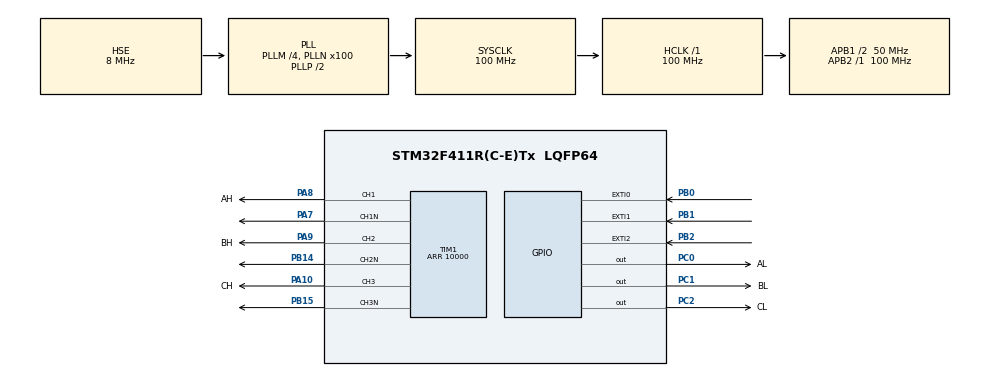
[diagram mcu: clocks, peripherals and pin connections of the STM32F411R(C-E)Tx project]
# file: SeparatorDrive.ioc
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Mcu.Family=STM32F4
Mcu.Name=STM32F411R(C-E)Tx
Mcu.Package=LQFP64
NVIC.EXTI0_IRQn=true\:0\:0\:false\:false\:true\:true\:true
NVIC.EXTI1_IRQn=true\:0\:0\:false\:false\:true\:true\:true
NVIC.EXTI2_IRQn=true\:0\:0\:false\:false\:true\:true\:true
NVIC.PriorityGroup=NVIC_PRIORITYGROUP_4
PA10.GPIO_Label=CH
PA10.Signal=S_TIM1_CH3
PA13.Mode=Serial_Wire
PA13.Signal=SYS_JTMS-SWDIO
PA14.Mode=Serial_Wire
PA14.Signal=SYS_JTCK-SWCLK
PA7.Mode=PWM Generation1 CH1 CH1N
PA7.Signal=TIM1_CH1N
PA8.GPIO_Label=AH
PA8.Signal=S_TIM1_CH1
PA9.GPIO_Label=BH
PA9.Signal=S_TIM1_CH2
PB0.GPIO_ModeDefaultEXTI=GPIO_MODE_IT_RISING_FALLING
PB0.GPIO_PuPd=GPIO_PULLUP
PB0.Signal=GPXTI0
PB1.GPIO_ModeDefaultEXTI=GPIO_MODE_IT_RISING_FALLING
PB1.GPIO_PuPd=GPIO_PULLUP
PB1.Signal=GPXTI1
PB14.Mode=PWM Generation2 CH2 CH2N
PB14.Signal=TIM1_CH2N
PB15.Mode=PWM Generation3 CH3 CH3N
PB15.Signal=TIM1_CH3N
PB2.GPIO_ModeDefaultEXTI=GPIO_MODE_IT_RISING_FALLING
PB2.GPIO_PuPd=GPIO_PULLUP
PB2.Signal=GPXTI2
PC0.GPIO_Label=AL
PC0.Signal=GPIO_Output
PC1.GPIO_Label=BL
PC1.Signal=GPIO_Output
PC2.GPIO_Label=CL
PC2.Signal=GPIO_Output
PH0\ -\ OSC_IN.Mode=HSE-External-Clock-Source
PH0\ -\ OSC_IN.Signal=RCC_OSC_IN
PH1\ -\ OSC_OUT.Mode=HSE-External-Clock-Source
PH1\ -\ OSC_OUT.Signal=RCC_OSC_OUT
ProjectManager.HeapSize=0x200
ProjectManager.StackSize=0x400
ProjectManager.TargetToolchain=MDK-ARM V5.27
RCC.48MHZClocksFreq_Value=50000000
RCC.AHBFreq_Value=100000000
RCC.APB1CLKDivider=RCC_HCLK_DIV2
RCC.APB1Freq_Value=50000000
RCC.APB1TimFreq_Value=100000000
RCC.APB2Freq_Value=100000000
RCC.APB2TimFreq_Value=100000000
RCC.CortexFreq_Value=100000000
RCC.HCLKFreq_Value=100000000
RCC.HSE_VALUE=8000000
RCC.HSI_VALUE=16000000
RCC.LSE_VALUE=32768
RCC.PLLM=4
RCC.PLLN=100
RCC.PLLSourceVirtual=RCC_PLLSOURCE_HSE
RCC.SYSCLKFreq_VALUE=100000000
RCC.SYSCLKSource=RCC_SYSCLKSOURCE_PLLCLK
RCC.VCOOutputFreq_Value=200000000
SH.S_TIM1_CH1.0=TIM1_CH1,PWM Generation1 CH1 CH1N
SH.S_TIM1_CH2.0=TIM1_CH2,PWM Generation2 CH2 CH2N
SH.S_TIM1_CH3.0=TIM1_CH3,PWM Generation3 CH3 CH3N
TIM1.Channel-PWM\ Generation1\ CH1\ CH1N=TIM_CHANNEL_1
TIM1.Channel-PWM\ Generation2\ CH2\ CH2N=TIM_CHANNEL_2
TIM1.Channel-PWM\ Generation3\ CH3\ CH3N=TIM_CHANNEL_3
TIM1.DeadTime=150
TIM1.OCNPolarity_1=TIM_OCNPOLARITY_HIGH
TIM1.OCNPolarity_2=TIM_OCNPOLARITY_HIGH
TIM1.OCNPolarity_3=TIM_OCNPOLARITY_HIGH
TIM1.Period=10000
board=custom

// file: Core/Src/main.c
/* USER CODE BEGIN Header */
/**
  ******************************************************************************
  * @file           : main.c
  * @brief          : Main program body
  ******************************************************************************
  * @attention
  *
  * <h2><center>&copy; Copyright (c) 2021 STMicroelectronics.
  * All rights reserved.</center></h2>
  *
  * This software component is licensed by ST under BSD 3-Clause license,
  * the "License"; You may not use this file except in compliance with the
  * License. You may obtain a copy of the License at:
  *                        opensource.org/licenses/BSD-3-Clause
  *
  ******************************************************************************
  */
/* USER CODE END Header */
#include "main.h"

/* USER CODE BEGIN Includes */
#include "currentLoop.h"
/* USER CODE END Includes */

TIM_HandleTypeDef htim1;

/* USER CODE BEGIN PV */
uint8_t direction=1;
MotorState_t motorState=BEGIN_STATE;
uint8_t count=0;
uint8_t startFlag=0;
MotorPhaseState_t currentPhaseState;
/* USER CODE END PV */

void SystemClock_Config(void);
static void MX_GPIO_Init(void);
static void MX_TIM1_Init(void);
/* USER CODE BEGIN PFP */
extern PIDHandle_t currentLoopPID;
extern uint16_t controllImpact;
extern uint8_t regulatorStart;
/* USER CODE END PFP */

/* USER CODE BEGIN 0 */

void sixStep(uint8_t ha,uint8_t hb,uint8_t hc)
{
	R_AH;
	R_BH;
	R_CH;
	R_AL;
	R_BL;
	R_CL;
	if(direction==0)
	{
		if(ha && (!hb) && hc)
		{
			S_AH;
			S_CL;
		}
		else if(ha && (!hb) && (!hc))
		{
			S_BH;
			S_CL;
		}
		else if(ha && hb && (!hc))
		{
			S_BH;
			S_AL;
		}
		else if((!ha) && (hb) && (!hc))
		{
			S_CH;
			S_AL;
		}
		else if((!ha) && (hb) && (hc))
		{
			S_CH;
			S_BL;
		}
		else if((!ha) && (!hb) && (hc))
		{
			S_AH;
			S_BL;
		}
	}
	else
	{
		if(ha && (!hb) && hc)
		{
			S_AH;
			S_BL;
		}
		else if(ha && (!hb) && (!hc))
		{
			S_AH;
			S_CL;
		}
		else if(ha && hb && (!hc))
		{
			S_BH;
			S_CL;
		}
		else if((!ha) && (hb) && (!hc))
		{
			S_BH;
			S_AL;
		}
		else if((!ha) && (hb) && (hc))
		{
			S_CH;
			S_AL;
		}
		else if((!ha) && (!hb) && (hc))
		{
			S_CH;
			S_BL;
		}
	}
}

void step()
{
	R_AH;
	R_BH;
	R_CH;
	R_AL;
	R_BL;
	R_CL;
	if(currentPhaseState.A==P && currentPhaseState.B==N)
	{
		S_AH;
		S_CL;
		currentPhaseState.A=P;
		currentPhaseState.B=NC;
		currentPhaseState.C=N;
	}
	else if(currentPhaseState.A==P && currentPhaseState.C==N)
	{
		S_BH;
		S_CL;
		currentPhaseState.A=NC;
		currentPhaseState.B=P;
		currentPhaseState.C=N;
	}
	else if(currentPhaseState.B==P && currentPhaseState.C==N)
	{
		S_BH;
		S_AL;
		currentPhaseState.A=N;
		currentPhaseState.B=P;
		currentPhaseState.C=NC;
	}
	else if(currentPhaseState.B==P && currentPhaseState.A==N)
	{
		S_CH;
		S_AL;
		currentPhaseState.A=N;
		currentPhaseState.B=NC;
		currentPhaseState.C=P;
	}
	else if(currentPhaseState.C==P && currentPhaseState.A==N)
	{
		S_CH;
		S_BL;
		currentPhaseState.A=NC;
		currentPhaseState.B=N;
		currentPhaseState.C=P;
	}
	else if(currentPhaseState.C==P && currentPhaseState.B==N)
	{
		S_AH;
		S_BL;
		currentPhaseState.A=P;
		currentPhaseState.B=N;
		currentPhaseState.C=NC;
	}
}

void reverseStep()
{
	R_AH;
	R_BH;
	R_CH;
	R_AL;
	R_BL;
	R_CL;
	if(currentPhaseState.B==P && currentPhaseState.C==N)
	{
		S_AH;
		S_CL;
		currentPhaseState.A=P;
		currentPhaseState.B=NC;
		currentPhaseState.C=N;
	}
	else if(currentPhaseState.B==P && currentPhaseState.A==N)
	{
		S_BH;
		S_CL;
		currentPhaseState.A=NC;
		currentPhaseState.B=P;
		currentPhaseState.C=N;
	}
	else if(currentPhaseState.C==P && currentPhaseState.A==N)
	{
		S_BH;
		S_AL;
		currentPhaseState.A=N;
		currentPhaseState.B=P;
		currentPhaseState.C=NC;
	}
	else if(currentPhaseState.C==P && currentPhaseState.B==N)
	{
		S_CH;
		S_AL;
		currentPhaseState.A=N;
		currentPhaseState.B=NC;
		currentPhaseState.C=P;
	}
	else if(currentPhaseState.A==P && currentPhaseState.B==N)
	{
		S_CH;
		S_BL;
		currentPhaseState.A=NC;
		currentPhaseState.B=N;
		currentPhaseState.C=P;
	}
	else if(currentPhaseState.A==P && currentPhaseState.C==N)
	{
		S_AH;
		S_BL;
		currentPhaseState.A=P;
		currentPhaseState.B=N;
		currentPhaseState.C=NC;
	}
}

MotorPhaseState_t hallAlignment(uint8_t ha,uint8_t hb,uint8_t hc)
{
	MotorPhaseState_t phaseState;
	R_AH;
	R_BH;
	R_CH;
	R_AL;
	R_BL;
	R_CL;
	if(ha && (!hb) && hc)
	{
		S_CH;
		S_BL;
		phaseState.A=NC;
		phaseState.B=N;
		phaseState.C=P;
	}
	else if(ha && (!hb) && (!hc))
	{
		S_AH;
		S_BL;
		phaseState.A=P;
		phaseState.B=N;
		phaseState.C=NC;
	}
	else if(ha && hb && (!hc))
	{
		S_AH;
		S_CL;
		phaseState.A=P;
		phaseState.B=NC;
		phaseState.C=N;
	}
	else if((!ha) && (hb) && (!hc))
	{
		S_BH;
		S_CL;
		phaseState.A=NC;
		phaseState.B=P;
		phaseState.C=N;
	}
	else if((!ha) && (hb) && (hc))
	{
		S_BH;
		S_AL;
		phaseState.A=N;
		phaseState.B=P;
		phaseState.C=NC;
	}
	else if((!ha) && (!hb) && (hc))
	{
		S_CH;
		S_AL;
		phaseState.A=N;
		phaseState.B=NC;
		phaseState.C=P;
	}
	return phaseState;
}

void EXTI15_10_IRQHandler(void)
{
	static uint8_t statePosition=0;
	uint8_t hallState;
	EXTI->PR|=EXTI_PR_PR13;
	if(motorState==BEGIN_STATE)
	{
		currentLoopPID.integralTerm=0;
		currentLoopPID.prevError=0;
		currentPhaseState=hallAlignment(GPIOB->IDR&(1<<0),((GPIOB->IDR&(1<<1))>>1),((GPIOB->IDR&(1<<2))>>2));
		motorState=INITIAL_STATE;
		regulatorStart=1;
	}
	else if(motorState==INITIAL_STATE)
	{
		motorState=WORK_STATE;
		step();
		//sixStep(GPIOB->IDR&(1<<0),((GPIOB->IDR&(1<<1))>>1),((GPIOB->IDR&(1<<2))>>2));
	}
}

void buttonInit(void)
{
	RCC->AHB1ENR|=RCC_AHB1ENR_GPIOCEN;//???????????? ????? C
	GPIOC->PUPDR|=GPIO_PUPDR_PUPD13_0;//PC13 Pull up
	NVIC_EnableIRQ(EXTI15_10_IRQn);//???????? ??????????
	NVIC_SetPriority(EXTI15_10_IRQn,6);
	SYSCFG->EXTICR[3]|=SYSCFG_EXTICR4_EXTI13_PC;
	EXTI->IMR|=EXTI_IMR_IM13;
	EXTI->FTSR|=EXTI_FTSR_TR13;
	__enable_irq();
}

void HAL_GPIO_EXTI_Callback(uint16_t GPIO_Pin)
{
	/*if(motorState==WORK_STATE)
		sixStep(GPIOB->IDR&(1<<0),((GPIOB->IDR&(1<<1))>>1),((GPIOB->IDR&(1<<2))>>2));*/
	if(motorState==WORK_STATE)
	{
		step();
		motorState=REVERSE_STATE_1;
	}
	//count++;
	else if(motorState==REVERSE_STATE_1)
	{
		reverseStep();
		motorState=REVERSE_STATE_2;
	}
	else if(motorState==REVERSE_STATE_2)
	{
		reverseStep();
		motorState=INITIAL_STATE;
	}

}

/* USER CODE END 0 */

int main(void)
{
  /* USER CODE BEGIN 1 */
	uint8_t i=0;
	uint8_t hallState;
  /* USER CODE END 1 */

  /* MCU Configuration--------------------------------------------------------*/

  /* Reset of all peripherals, Initializes the Flash interface and the Systick. */
  HAL_Init();

  /* Configure the system clock */
  SystemClock_Config();

  /* Initialize all configured peripherals */
  MX_GPIO_Init();
  MX_TIM1_Init();
  /* USER CODE BEGIN 2 */
	buttonInit();
	adcInit(0);
	Tim5InitTrigger();
	setTriggerPetiod(1);
	//GPIOC->ODR&=(~(AL|AH|BL|BH|CL|CH));
	TIM1->CCR1=0;
	TIM1->CCR2=0;
	TIM1->CCR3=0;
	TIM1->BDTR|=TIM_BDTR_MOE;
	TIM1->CR1|=TIM_CR1_CEN;
  /* USER CODE END 2 */

  /* Infinite loop */
while (1)
  {

  }
}

void SystemClock_Config(void)
{
  RCC_OscInitTypeDef RCC_OscInitStruct = {0};
  RCC_ClkInitTypeDef RCC_ClkInitStruct = {0};

  /** Configure the main internal regulator output voltage
  */
  __HAL_RCC_PWR_CLK_ENABLE();
  __HAL_PWR_VOLTAGESCALING_CONFIG(PWR_REGULATOR_VOLTAGE_SCALE1);
  /** Initializes the RCC Oscillators according to the specified parameters
  * in the RCC_OscInitTypeDef structure.
  */
  RCC_OscInitStruct.OscillatorType = RCC_OSCILLATORTYPE_HSE;
  RCC_OscInitStruct.HSEState = RCC_HSE_BYPASS;
  RCC_OscInitStruct.PLL.PLLState = RCC_PLL_ON;
  RCC_OscInitStruct.PLL.PLLSource = RCC_PLLSOURCE_HSE;
  RCC_OscInitStruct.PLL.PLLM = 4;
  RCC_OscInitStruct.PLL.PLLN = 100;
  RCC_OscInitStruct.PLL.PLLP = RCC_PLLP_DIV2;
  RCC_OscInitStruct.PLL.PLLQ = 4;
  if (HAL_RCC_OscConfig(&RCC_OscInitStruct) != HAL_OK)
  {
    Error_Handler();
  }
  /** Initializes the CPU, AHB and APB buses clocks
  */
  RCC_ClkInitStruct.ClockType = RCC_CLOCKTYPE_HCLK|RCC_CLOCKTYPE_SYSCLK
                              |RCC_CLOCKTYPE_PCLK1|RCC_CLOCKTYPE_PCLK2;
  RCC_ClkInitStruct.SYSCLKSource = RCC_SYSCLKSOURCE_PLLCLK;
  RCC_ClkInitStruct.AHBCLKDivider = RCC_SYSCLK_DIV1;
  RCC_ClkInitStruct.APB1CLKDivider = RCC_HCLK_DIV2;
  RCC_ClkInitStruct.APB2CLKDivider = RCC_HCLK_DIV1;

  if (HAL_RCC_ClockConfig(&RCC_ClkInitStruct, FLASH_LATENCY_3) != HAL_OK)
  {
    Error_Handler();
  }
}

static void MX_TIM1_Init(void)
{

  TIM_MasterConfigTypeDef sMasterConfig = {0};
  TIM_OC_InitTypeDef sConfigOC = {0};
  TIM_BreakDeadTimeConfigTypeDef sBreakDeadTimeConfig = {0};

  htim1.Instance = TIM1;
  htim1.Init.Prescaler = 0;
  htim1.Init.CounterMode = TIM_COUNTERMODE_UP;
  htim1.Init.Period = 10000;
  htim1.Init.ClockDivision = TIM_CLOCKDIVISION_DIV1;
  htim1.Init.RepetitionCounter = 0;
  htim1.Init.AutoReloadPreload = TIM_AUTORELOAD_PRELOAD_DISABLE;
  if (HAL_TIM_PWM_Init(&htim1) != HAL_OK)
  {
    Error_Handler();
  }
  sMasterConfig.MasterOutputTrigger = TIM_TRGO_RESET;
  sMasterConfig.MasterSlaveMode = TIM_MASTERSLAVEMODE_DISABLE;
  if (HAL_TIMEx_MasterConfigSynchronization(&htim1, &sMasterConfig) != HAL_OK)
  {
    Error_Handler();
  }
  sConfigOC.OCMode = TIM_OCMODE_PWM1;
  sConfigOC.Pulse = 0;
  sConfigOC.OCPolarity = TIM_OCPOLARITY_HIGH;
  sConfigOC.OCNPolarity = TIM_OCNPOLARITY_HIGH;
  sConfigOC.OCFastMode = TIM_OCFAST_DISABLE;
  sConfigOC.OCIdleState = TIM_OCIDLESTATE_RESET;
  sConfigOC.OCNIdleState = TIM_OCNIDLESTATE_RESET;
  if (HAL_TIM_PWM_ConfigChannel(&htim1, &sConfigOC, TIM_CHANNEL_1) != HAL_OK)
  {
    Error_Handler();
  }
  if (HAL_TIM_PWM_ConfigChannel(&htim1, &sConfigOC, TIM_CHANNEL_2) != HAL_OK)
  {
    Error_Handler();
  }
  if (HAL_TIM_PWM_ConfigChannel(&htim1, &sConfigOC, TIM_CHANNEL_3) != HAL_OK)
  {
    Error_Handler();
  }
  sBreakDeadTimeConfig.OffStateRunMode = TIM_OSSR_DISABLE;
  sBreakDeadTimeConfig.OffStateIDLEMode = TIM_OSSI_DISABLE;
  sBreakDeadTimeConfig.LockLevel = TIM_LOCKLEVEL_OFF;
  sBreakDeadTimeConfig.DeadTime = 150;
  sBreakDeadTimeConfig.BreakState = TIM_BREAK_DISABLE;
  sBreakDeadTimeConfig.BreakPolarity = TIM_BREAKPOLARITY_HIGH;
  sBreakDeadTimeConfig.AutomaticOutput = TIM_AUTOMATICOUTPUT_DISABLE;
  if (HAL_TIMEx_ConfigBreakDeadTime(&htim1, &sBreakDeadTimeConfig) != HAL_OK)
  {
    Error_Handler();
  }
  HAL_TIM_MspPostInit(&htim1);

}

static void MX_GPIO_Init(void)
{
  GPIO_InitTypeDef GPIO_InitStruct = {0};

  /* GPIO Ports Clock Enable */
  __HAL_RCC_GPIOH_CLK_ENABLE();
  __HAL_RCC_GPIOC_CLK_ENABLE();
  __HAL_RCC_GPIOA_CLK_ENABLE();
  __HAL_RCC_GPIOB_CLK_ENABLE();

  /*Configure GPIO pin Output Level */
  HAL_GPIO_WritePin(GPIOC, AL_Pin|BL_Pin|CL_Pin, GPIO_PIN_RESET);

  /*Configure GPIO pins : AL_Pin BL_Pin CL_Pin */
  GPIO_InitStruct.Pin = AL_Pin|BL_Pin|CL_Pin;
  GPIO_InitStruct.Mode = GPIO_MODE_OUTPUT_PP;
  GPIO_InitStruct.Pull = GPIO_NOPULL;
  GPIO_InitStruct.Speed = GPIO_SPEED_FREQ_LOW;
  HAL_GPIO_Init(GPIOC, &GPIO_InitStruct);

  /*Configure GPIO pins : PB0 PB1 PB2 */
  GPIO_InitStruct.Pin = GPIO_PIN_0|GPIO_PIN_1|GPIO_PIN_2;
  GPIO_InitStruct.Mode = GPIO_MODE_IT_RISING_FALLING;
  GPIO_InitStruct.Pull = GPIO_PULLUP;
  HAL_GPIO_Init(GPIOB, &GPIO_InitStruct);

  /* EXTI interrupt init*/
  HAL_NVIC_SetPriority(EXTI0_IRQn, 0, 0);
  HAL_NVIC_EnableIRQ(EXTI0_IRQn);

  HAL_NVIC_SetPriority(EXTI1_IRQn, 0, 0);
  HAL_NVIC_EnableIRQ(EXTI1_IRQn);

  HAL_NVIC_SetPriority(EXTI2_IRQn, 0, 0);
  HAL_NVIC_EnableIRQ(EXTI2_IRQn);

}

void Error_Handler(void)
{
  __disable_irq();
  while (1)
  {
  }
}

/************************ (C) COPYRIGHT STMicroelectronics *****END OF FILE****/
